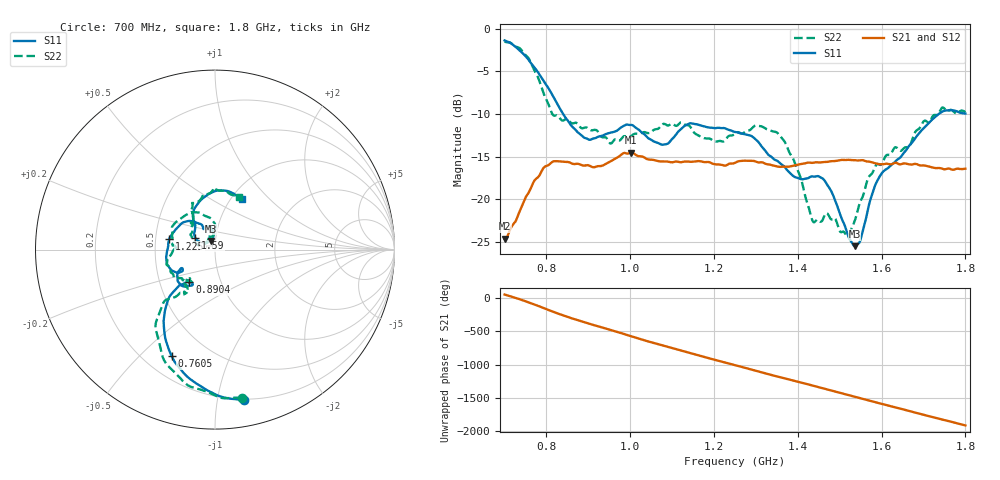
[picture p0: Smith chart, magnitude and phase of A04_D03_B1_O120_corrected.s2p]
! Created with skrf 1.9.0 (http://scikit-rf.org).
# Hz S RI R 50.0
!freq ReS11 ImS11 ReS21 ImS21 ReS12 ImS12 ReS22 ImS22
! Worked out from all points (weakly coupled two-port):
!   1601 points, 700 MHz to 1.8 GHz, reference 50 ohm
!   highest |S21| = -14.53 dB at 1.002 GHz (marker M1); lowest = -24.6 dB at 701.4 MHz (marker M2)
!   lowest |S11| = -25.5 dB at 1.535 GHz (marker M3), VSWR 1.11, Z = 47.5 + j4.56 ohm
!   |S11| at or under -10 dB: 839.4 MHz to 1.736 GHz (896.8 MHz wide, 69.6 % of centre)
!   |S22| runs from -24.3 to -1.5 dB; largest |S21 - S12| = 0.0035
!   S11 on the Smith chart (normalised r, x): 700 MHz: 0.20, -1.19; 760.5 MHz: 0.31, -0.63; 890.4 MHz: 0.71, -0.27; 1.225 GHz: 0.59, +0.08; 1.59 GHz: 0.79, +0.11; 1.8 GHz: 1.13, +0.70
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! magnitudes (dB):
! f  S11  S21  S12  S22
! 700 MHz  -1.4  -24.6  -24.4  -1.5
! 701.4 MHz  -1.4  -24.6  -24.2  -1.5
! 760.5 MHz  -3.9  -18.9  -18.8  -3.8
! 814.8 MHz  -7.9  -15.6  -15.7  -10.1
! 883.6 MHz  -12.5  -16.0  -15.9  -11.7
! 890.4 MHz  -12.8  -16.0  -16.0  -11.6
! 1.002 GHz  -11.3  -14.5  -14.6  -12.6
! 1.067 GHz  -13.4  -15.5  -15.5  -11.7
! 1.142 GHz  -11.1  -15.6  -15.6  -11.4
! 1.225 GHz  -11.7  -16.0  -16.0  -13.1
! 1.25 GHz  -12.1  -15.7  -15.6  -12.3
! 1.355 GHz  -15.7  -16.2  -16.1  -12.4
! 1.402 GHz  -17.5  -15.9  -15.9  -16.9
! 1.434 GHz  -17.3  -15.7  -15.7  -22.3
! 1.475 GHz  -18.6  -15.6  -15.6  -22.0
! 1.517 GHz  -23.9  -15.4  -15.4  -24.3
! 1.535 GHz  -25.5  -15.4  -15.4  -22.6
! 1.55 GHz  -24.7  -15.4  -15.4  -20.2
! 1.59 GHz  -17.8  -15.8  -15.8  -15.9
! 1.617 GHz  -16.2  -15.9  -15.8  -14.8
! 1.738 GHz  -9.9  -16.3  -16.4  -9.7
! 1.8 GHz  -10.0  -16.4  -16.4  -9.8
